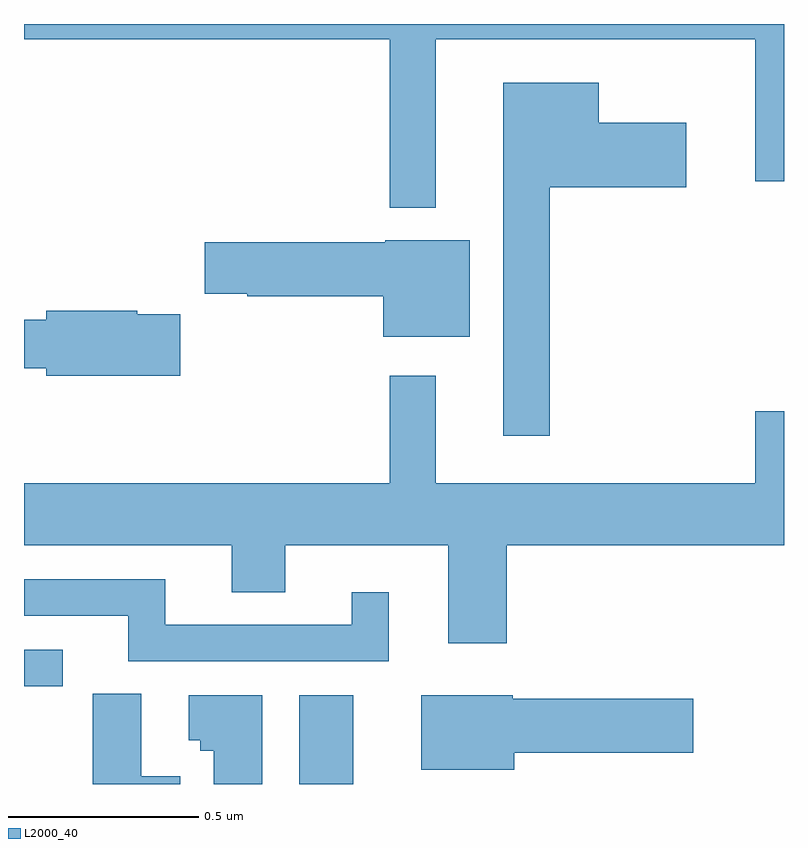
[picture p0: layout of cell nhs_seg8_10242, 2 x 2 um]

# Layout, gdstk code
import gdstk
lib = gdstk.Library(unit=1e-6, precision=1e-09)
def R(c, l, rs):  # rectangles x0, y0, x1, y1
    for r in rs: c.add(gdstk.rectangle(r[:2], r[2:], *l))
def P(c, l, *ps):  # polygons
    for p in ps: c.add(gdstk.Polygon(p, *l))
L2000_40 = (2000, 40)

nhs_seg8_10242 = lib.new_cell('nhs_seg8_10242')
R(nhs_seg8_10242, L2000_40, [(247.724,1087.9,247.867,1088.134), (247,1088.157,247.102,1088.253)])
P(nhs_seg8_10242, L2000_40, [(248.083,1089.86),(248.924,1089.86),(248.924,1089.486),(249,1089.486),(249,1089.9),(247,1089.9),(247,1089.86),(247.962,1089.86),(247.962,1089.416),(248.083,1089.416)],
  [(248.383,1089.47),(248.743,1089.47),(248.743,1089.64),(248.512,1089.64),(248.512,1089.745),(248.261,1089.745),(248.261,1088.817),(248.383,1088.817)],
  [(248.173,1089.331),(247.95,1089.331),(247.95,1089.326),(247.476,1089.326),(247.476,1089.19),(247.588,1089.19),(247.588,1089.184),(247.946,1089.184),(247.946,1089.077),(248.173,1089.077)],
  [(247.411,1089.136),(247.298,1089.136),(247.298,1089.146),(247.058,1089.146),(247.058,1089.122),(247,1089.122),(247,1088.994),(247.058,1088.994),(247.058,1088.975),(247.411,1088.975)],
  [(248.27,1088.528),(249,1088.528),(249,1088.881),(248.924,1088.881),(248.924,1088.692),(248.083,1088.692),(248.083,1088.974),(247.962,1088.974),(247.962,1088.692),(247,1088.692),(247,1088.528),(247.547,1088.528),(247.547,1088.404),(247.687,1088.404),(247.687,1088.528),(248.117,1088.528),(248.117,1088.271),(248.27,1088.271)],
  [(247.96,1088.404),(247.862,1088.404),(247.862,1088.319),(247.372,1088.319),(247.372,1088.439),(247,1088.439),(247,1088.343),(247.274,1088.343),(247.274,1088.223),(247.96,1088.223)],
  [(247.411,1087.92),(247.309,1087.92),(247.309,1088.137),(247.181,1088.137),(247.181,1087.9),(247.411,1087.9)],
  [(248.29,1087.982),(248.761,1087.982),(248.761,1088.124),(248.286,1088.124),(248.286,1088.134),(248.045,1088.134),(248.045,1087.937),(248.29,1087.937)],
  [(247.627,1088.134),(247.433,1088.134),(247.433,1088.015),(247.464,1088.015),(247.464,1087.987),(247.499,1087.987),(247.499,1087.9),(247.627,1087.9)])

lib.write_gds('nhs_seg8_10242.gds')
